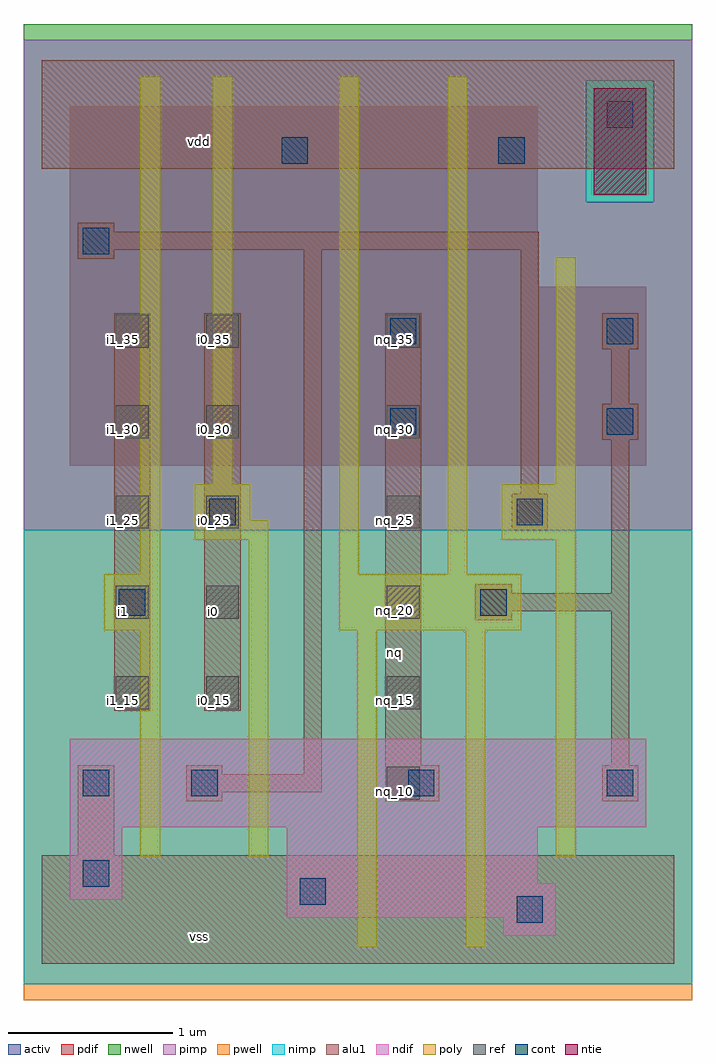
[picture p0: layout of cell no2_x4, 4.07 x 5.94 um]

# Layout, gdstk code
import gdstk
lib = gdstk.Library(unit=1e-6, precision=2.5e-09)
def R(c, l, rs):  # rectangles x0, y0, x1, y1
    for r in rs: c.add(gdstk.rectangle(r[:2], r[2:], *l))
def A(c, l, x, y, w, h, nx, ny, dx, dy):  # array of equal rectangles
    R(c, l, [(x+i*dx, y+j*dy, x+i*dx+w, y+j*dy+h) for i in range(nx) for j in range(ny)])
ndif = (3, 0)
pdif = (4, 0)
ntie = (5, 0)
ref = (24, 0)
cont = (25, 0)
pwell = (41, 0)
nwell = (42, 0)
activ = (43, 0)
pimp = (44, 0)
nimp = (45, 0)
poly = (46, 0)
alu1 = (49, 0)

no2_x4 = lib.new_cell('no2_x4')
R(no2_x4, ndif, [(2.81,0.17,3.13,0.28), (2.81,0.17,3.13,0.28), (1.49,0.28,3.13,0.49), (1.49,0.28,3.13,0.49), (0.17,0.39,0.49,0.83), (0.17,0.39,0.49,0.83), (1.49,0.49,3.02,0.83), (1.49,0.49,3.02,0.83), (0.17,0.83,3.68,1.37), (0.17,0.83,3.68,1.37)])
R(no2_x4, pdif, [(0.17,3.03,3.68,4.12), (0.17,3.03,3.68,4.12), (0.17,4.12,3.02,5.22), (0.17,4.12,3.02,5.22)])
R(no2_x4, ntie, [(3.36,4.68,3.68,5.33), (3.36,4.68,3.68,5.33)])
A(no2_x4, ref, 2.1, 1, 0.2, 0.2, 1, 6, 0, 0.55)
A(no2_x4, ref, 0.45, 1.55, 0.2, 0.2, 1, 5, 0, 0.55)
A(no2_x4, ref, 1, 1.55, 0.2, 0.2, 1, 5, 0, 0.55)
R(no2_x4, cont, [(2.89,0.25,3.05,0.41), (1.57,0.36,1.73,0.52), (0.25,0.47,0.41,0.63), (0.25,1.02,0.41,1.18), (0.91,1.02,1.07,1.18), (2.23,1.02,2.39,1.18), (3.44,1.02,3.6,1.18), (0.47,2.12,0.63,2.28), (2.67,2.12,2.83,2.28), (1.02,2.67,1.18,2.83), (2.89,2.67,3.05,2.83), (2.12,3.22,2.28,3.38), (3.44,3.22,3.6,3.38), (2.12,3.77,2.28,3.93), (3.44,3.77,3.6,3.93), (0.25,4.32,0.41,4.48), (1.46,4.87,1.62,5.03), (2.78,4.87,2.94,5.03), (3.44,5.09,3.6,5.25)])
R(no2_x4, pwell, [(-0.11,-0.22,3.96,2.64)])
R(no2_x4, nwell, [(-0.11,2.64,3.96,5.72)])
R(no2_x4, activ, [(2.81,0.17,3.13,0.28), (2.81,0.17,3.13,0.28), (1.49,0.28,3.13,0.49), (1.49,0.28,3.13,0.49), (0.17,0.39,0.49,0.83), (0.17,0.39,0.49,0.83), (1.49,0.49,3.02,0.83), (1.49,0.49,3.02,0.83), (0.17,0.83,3.68,1.37), (0.17,0.83,3.68,1.37), (0.17,3.03,3.68,4.12), (0.17,3.03,3.68,4.12), (0.17,4.12,3.02,5.22), (0.17,4.12,3.02,5.22), (3.36,4.68,3.68,5.33), (3.36,4.68,3.68,5.33)])
R(no2_x4, pimp, [(-0.11,2.64,3.96,4.635), (-0.11,4.635,3.315,5.375), (3.725,4.635,3.96,5.375), (-0.11,5.375,3.96,5.625)])
R(no2_x4, nimp, [(-0.11,-0.125,3.96,2.64), (3.315,4.635,3.725,5.375)])
R(no2_x4, poly, [(1.92,0.1,2.04,2.03), (2.58,0.1,2.7,2.03), (0.6,0.65,0.72,2.03), (1.26,0.65,1.38,2.58), (3.13,0.65,3.25,2.58), (0.38,2.03,0.72,2.37), (1.81,2.03,2.92,2.37), (0.6,2.37,0.72,5.4), (1.81,2.37,1.93,5.4), (2.47,2.37,2.59,5.4), (0.93,2.58,1.38,2.7), (2.8,2.58,3.25,2.92), (0.93,2.7,1.27,2.92), (1.04,2.92,1.16,5.4), (3.13,2.92,3.25,4.3)])
R(no2_x4, alu1, [(0,0,3.85,0.66), (0.22,0.66,0.44,1.21), (0.88,0.99,1.1,1.045), (2.09,0.99,2.42,1.21), (3.41,0.99,3.63,1.21), (0.88,1.045,1.705,1.155), (0.88,1.155,1.1,1.21), (1.595,1.155,1.705,4.345), (2.09,1.21,2.31,3.96), (3.465,1.21,3.575,2.145), (0.44,1.54,0.66,3.96), (0.99,1.54,1.21,3.96), (2.64,2.09,2.86,2.145), (2.64,2.145,3.575,2.255), (2.64,2.255,2.86,2.31), (3.465,2.255,3.575,3.19), (2.86,2.64,3.08,2.86), (2.915,2.86,3.025,4.345), (3.41,3.19,3.63,3.41), (3.465,3.41,3.575,3.74), (3.41,3.74,3.63,3.96), (0.22,4.29,0.44,4.345), (0.22,4.345,3.025,4.455), (0.22,4.455,0.44,4.51), (0,4.84,3.85,5.5)])
no2_x4.add(gdstk.Label('vss', (0.9625,0.165), layer=49, texttype=0))
no2_x4.add(gdstk.Label('nq', (2.145,1.8975), layer=49, texttype=0))
no2_x4.add(gdstk.Label('i0', (1.045,2.145), layer=49, texttype=0))
no2_x4.add(gdstk.Label('i1', (0.495,2.145), layer=49, texttype=0))
no2_x4.add(gdstk.Label('vdd', (0.9625,5.005), layer=49, texttype=0))
no2_x4.add(gdstk.Label('nq_15', (2.15,1.6), layer=24, texttype=0))
no2_x4.add(gdstk.Label('nq_20', (2.15,2.15), layer=24, texttype=0))
no2_x4.add(gdstk.Label('nq_25', (2.15,2.7), layer=24, texttype=0))
no2_x4.add(gdstk.Label('nq_30', (2.15,3.25), layer=24, texttype=0))
no2_x4.add(gdstk.Label('nq_35', (2.15,3.8), layer=24, texttype=0))
no2_x4.add(gdstk.Label('i0_35', (1.05,3.8), layer=24, texttype=0))
no2_x4.add(gdstk.Label('i0_30', (1.05,3.25), layer=24, texttype=0))
no2_x4.add(gdstk.Label('i0_25', (1.05,2.7), layer=24, texttype=0))
no2_x4.add(gdstk.Label('i0_20', (1.05,2.15), layer=24, texttype=0))
no2_x4.add(gdstk.Label('i0_15', (1.05,1.6), layer=24, texttype=0))
no2_x4.add(gdstk.Label('i1_15', (0.5,1.6), layer=24, texttype=0))
no2_x4.add(gdstk.Label('i1_20', (0.5,2.15), layer=24, texttype=0))
no2_x4.add(gdstk.Label('i1_25', (0.5,2.7), layer=24, texttype=0))
no2_x4.add(gdstk.Label('i1_30', (0.5,3.25), layer=24, texttype=0))
no2_x4.add(gdstk.Label('i1_35', (0.5,3.8), layer=24, texttype=0))
no2_x4.add(gdstk.Label('nq_10', (2.15,1.05), layer=24, texttype=0))

lib.write_gds('no2_x4.gds')
